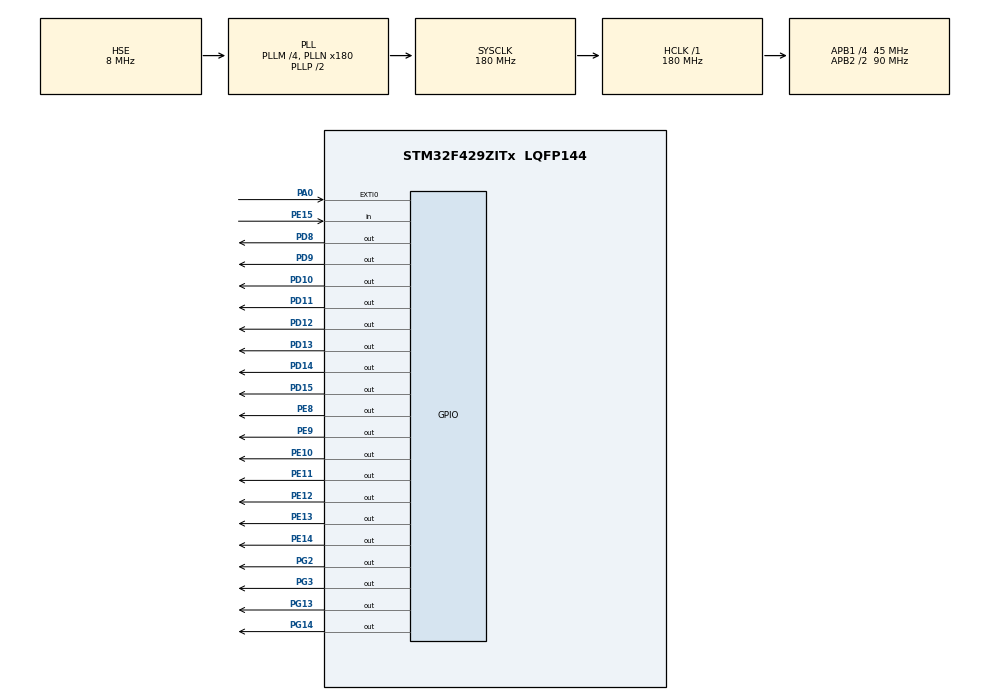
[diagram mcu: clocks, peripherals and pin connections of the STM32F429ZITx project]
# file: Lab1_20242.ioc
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Mcu.Family=STM32F4
Mcu.Name=STM32F429ZITx
Mcu.Package=LQFP144
NVIC.EXTI0_IRQn=true\:0\:0\:false\:false\:true\:true\:true\:true
NVIC.PriorityGroup=NVIC_PRIORITYGROUP_4
NVIC.TIM6_DAC_IRQn=true\:0\:0\:false\:false\:true\:true\:true\:true
PA0/WKUP.Signal=GPXTI0
PD10.Signal=GPIO_Output
PD11.Signal=GPIO_Output
PD12.Signal=GPIO_Output
PD13.Signal=GPIO_Output
PD14.Signal=GPIO_Output
PD15.Signal=GPIO_Output
PD8.Signal=GPIO_Output
PD9.Signal=GPIO_Output
PE10.Signal=GPIO_Output
PE11.Signal=GPIO_Output
PE12.Signal=GPIO_Output
PE13.Signal=GPIO_Output
PE14.Signal=GPIO_Output
PE15.Signal=GPIO_Input
PE8.Signal=GPIO_Output
PE9.Signal=GPIO_Output
PG13.Signal=GPIO_Output
PG14.Signal=GPIO_Output
PG2.Signal=GPIO_Output
PG3.Signal=GPIO_Output
PH0/OSC_IN.Mode=HSE-External-Oscillator
PH0/OSC_IN.Signal=RCC_OSC_IN
PH1/OSC_OUT.Mode=HSE-External-Oscillator
PH1/OSC_OUT.Signal=RCC_OSC_OUT
ProjectManager.HeapSize=0x200
ProjectManager.StackSize=0x400
ProjectManager.TargetToolchain=STM32CubeIDE
RCC.48MHZClocksFreq_Value=90000000
RCC.AHBFreq_Value=180000000
RCC.APB1CLKDivider=RCC_HCLK_DIV4
RCC.APB1Freq_Value=45000000
RCC.APB1TimFreq_Value=90000000
RCC.APB2CLKDivider=RCC_HCLK_DIV2
RCC.APB2Freq_Value=90000000
RCC.APB2TimFreq_Value=180000000
RCC.CortexFreq_Value=180000000
RCC.HCLKFreq_Value=180000000
RCC.HSE_VALUE=8000000
RCC.HSI_VALUE=16000000
RCC.LSE_VALUE=32768
RCC.PLLM=4
RCC.PLLN=180
RCC.PLLSourceVirtual=RCC_PLLSOURCE_HSE
RCC.SYSCLKFreq_VALUE=180000000
RCC.SYSCLKSource=RCC_SYSCLKSOURCE_PLLCLK
RCC.VCOOutputFreq_Value=360000000
TIM6.Period=99
TIM6.Prescaler=89
VP_TIM6_VS_ClockSourceINT.Mode=Enable_Timer
board=custom

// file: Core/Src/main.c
/* USER CODE BEGIN Header */
/**
  ******************************************************************************
  * @file           : main.c
  * @brief          : Main program body
  ******************************************************************************
  * @attention
  *
  * Copyright (c) 2025 STMicroelectronics.
  * All rights reserved.
  *
  * This software is licensed under terms that can be found in the LICENSE file
  * in the root directory of this software component.
  * If no LICENSE file comes with this software, it is provided AS-IS.
  *
  ******************************************************************************
  */
/* USER CODE END Header */
#include "main.h"

TIM_HandleTypeDef htim6;

/* USER CODE BEGIN PV */
extern int TIM6_Count;
unsigned char LED_Value;
int current_mode = 0;
int repeat_count = 0;
/* USER CODE END PV */

void SystemClock_Config(void);
static void MX_GPIO_Init(void);
static void MX_TIM6_Init(void);

/* USER CODE BEGIN 0 */

void DisplayLEDsRaw(){
	if (LED_Value & 0x80)
		HAL_GPIO_WritePin(GPIOD, GPIO_PIN_15, GPIO_PIN_SET);
	else
		HAL_GPIO_WritePin(GPIOD, GPIO_PIN_15, GPIO_PIN_RESET);
	if (LED_Value & 0x40)
		HAL_GPIO_WritePin(GPIOD, GPIO_PIN_14, GPIO_PIN_SET);
	else
		HAL_GPIO_WritePin(GPIOD, GPIO_PIN_14, GPIO_PIN_RESET);
	if (LED_Value & 0x20)
		HAL_GPIO_WritePin(GPIOD, GPIO_PIN_13, GPIO_PIN_SET);
	else
		HAL_GPIO_WritePin(GPIOD, GPIO_PIN_13, GPIO_PIN_RESET);
	if (LED_Value & 0x10)
		HAL_GPIO_WritePin(GPIOD, GPIO_PIN_12, GPIO_PIN_SET);
	else
		HAL_GPIO_WritePin(GPIOD, GPIO_PIN_12, GPIO_PIN_RESET);
	if (LED_Value & 0x8)
		HAL_GPIO_WritePin(GPIOD, GPIO_PIN_11, GPIO_PIN_SET);
	else
		HAL_GPIO_WritePin(GPIOD, GPIO_PIN_11, GPIO_PIN_RESET);
	if (LED_Value & 0x4)
		HAL_GPIO_WritePin(GPIOD, GPIO_PIN_10, GPIO_PIN_SET);
	else
		HAL_GPIO_WritePin(GPIOD, GPIO_PIN_10, GPIO_PIN_RESET);
	if (LED_Value & 0x2)
		HAL_GPIO_WritePin(GPIOD, GPIO_PIN_9, GPIO_PIN_SET);
	else
		HAL_GPIO_WritePin(GPIOD, GPIO_PIN_9, GPIO_PIN_RESET);
	if (LED_Value & 0x1)
		HAL_GPIO_WritePin(GPIOD, GPIO_PIN_8, GPIO_PIN_SET);
	else
		HAL_GPIO_WritePin(GPIOD, GPIO_PIN_8, GPIO_PIN_RESET);
}

void DisplayLEDs(int mode)
{
	switch (mode){
		case 1:
			LED_Value = (LED_Value >> 1) | (LED_Value << 7);
			break;

		case 2:
			LED_Value = (LED_Value << 1) | (LED_Value >> 7);
			break;
		case 3:
		{
			static int flash_step = 0;
			if (flash_step % 2 == 0)
				LED_Value = 0xFF;
			else
				LED_Value = 0x00;

			DisplayLEDsRaw();
			HAL_Delay(200);
			flash_step++;

			if (flash_step >= 4) {
				flash_step = 0;
				current_mode++;
				repeat_count = 0;
			}
			return;
		}

		case 4:
		{
			static int bumper_step = 0;
			uint8_t patterns[] = {
					0b10000001,
					0b01000010,
					0b00100100,
					0b00011000,
					0b00100100,
					0b01000010,
					0b10000001
					};

			LED_Value = patterns[bumper_step++];
			if (bumper_step >= sizeof(patterns)) bumper_step = 0;
			break;
		}
	}

	DisplayLEDsRaw();
}

/* USER CODE END 0 */

int main(void)
{

  /* USER CODE BEGIN 1 */
  TIM6_Count = 0;
  /* USER CODE END 1 */

  /* MCU Configuration--------------------------------------------------------*/

  /* Reset of all peripherals, Initializes the Flash interface and the Systick. */
  HAL_Init();

  /* Configure the system clock */
  SystemClock_Config();

  /* Initialize all configured peripherals */
  MX_GPIO_Init();
  MX_TIM6_Init();
  /* USER CODE BEGIN 2 */
  HAL_TIM_Base_Start_IT(&htim6);
  Set7SegDisplayValue(25);

  /* USER CODE END 2 */

  /* Infinite loop */
  /* USER CODE BEGIN WHILE */
  LED_Value = 1;
  while (1)
  {
	  HAL_Delay(5);
	  Run7SegDisplay();

	  DisplayLEDs(current_mode);
	  HAL_Delay(150);

	  repeat_count ++;

	  if (repeat_count  >= 16){
		  repeat_count = 0;
		  current_mode = (current_mode % 4) + 1;

			if (current_mode == 1)
				LED_Value = 1;
			else if (current_mode == 2)
				LED_Value = 0x01;
	  }
    /* USER CODE END WHILE */

  }
}

void SystemClock_Config(void)
{
  RCC_OscInitTypeDef RCC_OscInitStruct = {0};
  RCC_ClkInitTypeDef RCC_ClkInitStruct = {0};

  /** Configure the main internal regulator output voltage
  */
  __HAL_RCC_PWR_CLK_ENABLE();
  __HAL_PWR_VOLTAGESCALING_CONFIG(PWR_REGULATOR_VOLTAGE_SCALE1);

  /** Initializes the RCC Oscillators according to the specified parameters
  * in the RCC_OscInitTypeDef structure.
  */
  RCC_OscInitStruct.OscillatorType = RCC_OSCILLATORTYPE_HSE;
  RCC_OscInitStruct.HSEState = RCC_HSE_ON;
  RCC_OscInitStruct.PLL.PLLState = RCC_PLL_ON;
  RCC_OscInitStruct.PLL.PLLSource = RCC_PLLSOURCE_HSE;
  RCC_OscInitStruct.PLL.PLLM = 4;
  RCC_OscInitStruct.PLL.PLLN = 180;
  RCC_OscInitStruct.PLL.PLLP = RCC_PLLP_DIV2;
  RCC_OscInitStruct.PLL.PLLQ = 4;
  if (HAL_RCC_OscConfig(&RCC_OscInitStruct) != HAL_OK)
  {
    Error_Handler();
  }

  /** Activate the Over-Drive mode
  */
  if (HAL_PWREx_EnableOverDrive() != HAL_OK)
  {
    Error_Handler();
  }

  /** Initializes the CPU, AHB and APB buses clocks
  */
  RCC_ClkInitStruct.ClockType = RCC_CLOCKTYPE_HCLK|RCC_CLOCKTYPE_SYSCLK
                              |RCC_CLOCKTYPE_PCLK1|RCC_CLOCKTYPE_PCLK2;
  RCC_ClkInitStruct.SYSCLKSource = RCC_SYSCLKSOURCE_PLLCLK;
  RCC_ClkInitStruct.AHBCLKDivider = RCC_SYSCLK_DIV1;
  RCC_ClkInitStruct.APB1CLKDivider = RCC_HCLK_DIV4;
  RCC_ClkInitStruct.APB2CLKDivider = RCC_HCLK_DIV2;

  if (HAL_RCC_ClockConfig(&RCC_ClkInitStruct, FLASH_LATENCY_5) != HAL_OK)
  {
    Error_Handler();
  }
}

static void MX_TIM6_Init(void)
{

  TIM_MasterConfigTypeDef sMasterConfig = {0};

  htim6.Instance = TIM6;
  htim6.Init.Prescaler = 89;
  htim6.Init.CounterMode = TIM_COUNTERMODE_UP;
  htim6.Init.Period = 99;
  htim6.Init.AutoReloadPreload = TIM_AUTORELOAD_PRELOAD_DISABLE;
  if (HAL_TIM_Base_Init(&htim6) != HAL_OK)
  {
    Error_Handler();
  }
  sMasterConfig.MasterOutputTrigger = TIM_TRGO_RESET;
  sMasterConfig.MasterSlaveMode = TIM_MASTERSLAVEMODE_DISABLE;
  if (HAL_TIMEx_MasterConfigSynchronization(&htim6, &sMasterConfig) != HAL_OK)
  {
    Error_Handler();
  }

}

static void MX_GPIO_Init(void)
{
  GPIO_InitTypeDef GPIO_InitStruct = {0};

  /* GPIO Ports Clock Enable */
  __HAL_RCC_GPIOH_CLK_ENABLE();
  __HAL_RCC_GPIOA_CLK_ENABLE();
  __HAL_RCC_GPIOE_CLK_ENABLE();
  __HAL_RCC_GPIOD_CLK_ENABLE();
  __HAL_RCC_GPIOG_CLK_ENABLE();

  /*Configure GPIO pin Output Level */
  HAL_GPIO_WritePin(GPIOE, GPIO_PIN_8|GPIO_PIN_9|GPIO_PIN_10|GPIO_PIN_11
                          |GPIO_PIN_12|GPIO_PIN_13|GPIO_PIN_14, GPIO_PIN_RESET);

  /*Configure GPIO pin Output Level */
  HAL_GPIO_WritePin(GPIOD, GPIO_PIN_8|GPIO_PIN_9|GPIO_PIN_10|GPIO_PIN_11
                          |GPIO_PIN_12|GPIO_PIN_13|GPIO_PIN_14|GPIO_PIN_15, GPIO_PIN_RESET);

  /*Configure GPIO pin Output Level */
  HAL_GPIO_WritePin(GPIOG, GPIO_PIN_2|GPIO_PIN_3|GPIO_PIN_13|GPIO_PIN_14, GPIO_PIN_RESET);

  /*Configure GPIO pin : PA0 */
  GPIO_InitStruct.Pin = GPIO_PIN_0;
  GPIO_InitStruct.Mode = GPIO_MODE_IT_RISING;
  GPIO_InitStruct.Pull = GPIO_NOPULL;
  HAL_GPIO_Init(GPIOA, &GPIO_InitStruct);

  /*Configure GPIO pins : PE8 PE9 PE10 PE11
                           PE12 PE13 PE14 */
  GPIO_InitStruct.Pin = GPIO_PIN_8|GPIO_PIN_9|GPIO_PIN_10|GPIO_PIN_11
                          |GPIO_PIN_12|GPIO_PIN_13|GPIO_PIN_14;
  GPIO_InitStruct.Mode = GPIO_MODE_OUTPUT_PP;
  GPIO_InitStruct.Pull = GPIO_NOPULL;
  GPIO_InitStruct.Speed = GPIO_SPEED_FREQ_LOW;
  HAL_GPIO_Init(GPIOE, &GPIO_InitStruct);

  /*Configure GPIO pin : PE15 */
  GPIO_InitStruct.Pin = GPIO_PIN_15;
  GPIO_InitStruct.Mode = GPIO_MODE_INPUT;
  GPIO_InitStruct.Pull = GPIO_NOPULL;
  HAL_GPIO_Init(GPIOE, &GPIO_InitStruct);

  /*Configure GPIO pins : PD8 PD9 PD10 PD11
                           PD12 PD13 PD14 PD15 */
  GPIO_InitStruct.Pin = GPIO_PIN_8|GPIO_PIN_9|GPIO_PIN_10|GPIO_PIN_11
                          |GPIO_PIN_12|GPIO_PIN_13|GPIO_PIN_14|GPIO_PIN_15;
  GPIO_InitStruct.Mode = GPIO_MODE_OUTPUT_PP;
  GPIO_InitStruct.Pull = GPIO_NOPULL;
  GPIO_InitStruct.Speed = GPIO_SPEED_FREQ_LOW;
  HAL_GPIO_Init(GPIOD, &GPIO_InitStruct);

  /*Configure GPIO pins : PG2 PG3 PG13 PG14 */
  GPIO_InitStruct.Pin = GPIO_PIN_2|GPIO_PIN_3|GPIO_PIN_13|GPIO_PIN_14;
  GPIO_InitStruct.Mode = GPIO_MODE_OUTPUT_PP;
  GPIO_InitStruct.Pull = GPIO_NOPULL;
  GPIO_InitStruct.Speed = GPIO_SPEED_FREQ_LOW;
  HAL_GPIO_Init(GPIOG, &GPIO_InitStruct);

  /* EXTI interrupt init*/
  HAL_NVIC_SetPriority(EXTI0_IRQn, 0, 0);
  HAL_NVIC_EnableIRQ(EXTI0_IRQn);

}

void Error_Handler(void)
{
  __disable_irq();
  while (1)
  {
  }
}
